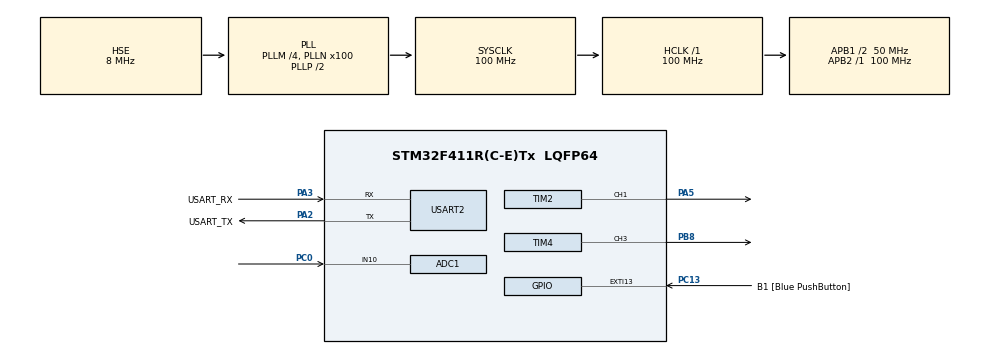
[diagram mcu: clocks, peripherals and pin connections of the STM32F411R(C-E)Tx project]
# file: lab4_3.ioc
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ADC1.Channel-0\#ChannelRegularConversion=ADC_CHANNEL_10
ADC1.NbrOfConversionFlag=1
ADC1.Rank-0\#ChannelRegularConversion=1
ADC1.SamplingTime-0\#ChannelRegularConversion=ADC_SAMPLETIME_3CYCLES
ADC1.master=1
Mcu.Family=STM32F4
Mcu.Name=STM32F411R(C-E)Tx
Mcu.Package=LQFP64
NVIC.ADC_IRQn=true\:0\:0\:false\:false\:true\:true\:true\:true
NVIC.PriorityGroup=NVIC_PRIORITYGROUP_0
NVIC.TIM2_IRQn=true\:0\:0\:false\:false\:true\:true\:true\:true
NVIC.TIM4_IRQn=true\:0\:0\:false\:false\:true\:true\:true\:true
PA13.GPIO_Label=TMS
PA13.Mode=Serial_Wire
PA13.Signal=SYS_JTMS-SWDIO
PA14.GPIO_Label=TCK
PA14.Mode=Serial_Wire
PA14.Signal=SYS_JTCK-SWCLK
PA2.GPIO_Label=USART_TX
PA2.Mode=Asynchronous
PA2.Signal=USART2_TX
PA3.GPIO_Label=USART_RX
PA3.Mode=Asynchronous
PA3.Signal=USART2_RX
PA5.Signal=S_TIM2_CH1_ETR
PB3.GPIO_Label=SWO
PB3.Signal=SYS_JTDO-SWO
PB8.Signal=S_TIM4_CH3
PC0.Signal=ADCx_IN10
PC13-ANTI_TAMP.GPIO_Label=B1 [Blue PushButton]
PC13-ANTI_TAMP.GPIO_ModeDefaultEXTI=GPIO_MODE_IT_FALLING
PC13-ANTI_TAMP.Signal=GPXTI13
PC14-OSC32_IN.Mode=LSE-External-Oscillator
PC14-OSC32_IN.Signal=RCC_OSC32_IN
PC15-OSC32_OUT.Mode=LSE-External-Oscillator
PC15-OSC32_OUT.Signal=RCC_OSC32_OUT
PH0\ -\ OSC_IN.Mode=HSE-External-Clock-Source
PH0\ -\ OSC_IN.Signal=RCC_OSC_IN
PH1\ -\ OSC_OUT.Mode=HSE-External-Clock-Source
PH1\ -\ OSC_OUT.Signal=RCC_OSC_OUT
ProjectManager.HeapSize=0x200
ProjectManager.StackSize=0x400
ProjectManager.TargetToolchain=STM32CubeIDE
RCC.48MHZClocksFreq_Value=50000000
RCC.AHBFreq_Value=100000000
RCC.APB1CLKDivider=RCC_HCLK_DIV2
RCC.APB1Freq_Value=50000000
RCC.APB1TimFreq_Value=100000000
RCC.APB2Freq_Value=100000000
RCC.APB2TimFreq_Value=100000000
RCC.CortexFreq_Value=100000000
RCC.FLatency-AdvancedSettings=FLASH_LATENCY_3
RCC.HCLKFreq_Value=100000000
RCC.HSE_VALUE=8000000
RCC.HSI_VALUE=16000000
RCC.PLLM=4
RCC.PLLN=100
RCC.PLLSourceVirtual=RCC_PLLSOURCE_HSE
RCC.SYSCLKFreq_VALUE=100000000
RCC.SYSCLKSource=RCC_SYSCLKSOURCE_PLLCLK
RCC.VCOOutputFreq_Value=200000000
SH.ADCx_IN10.0=ADC1_IN10,IN10
SH.S_TIM2_CH1_ETR.0=TIM2_CH1,PWM Generation1 CH1
SH.S_TIM4_CH3.0=TIM4_CH3,PWM Generation3 CH3
TIM2.AutoReloadPreload=TIM_AUTORELOAD_PRELOAD_ENABLE
TIM2.Channel-PWM\ Generation1\ CH1=TIM_CHANNEL_1
TIM2.CounterMode=TIM_COUNTERMODE_DOWN
TIM2.Period=9999
TIM2.Pulse-PWM\ Generation1\ CH1=5000
TIM4.AutoReloadPreload=TIM_AUTORELOAD_PRELOAD_ENABLE
TIM4.Channel-PWM\ Generation3\ CH3=TIM_CHANNEL_3
TIM4.CounterMode=TIM_COUNTERMODE_DOWN
TIM4.Period=62499
TIM4.Prescaler=15
TIM4.Pulse-PWM\ Generation3\ CH3=32768
USART2.VirtualMode=VM_ASYNC
VP_TIM2_VS_ClockSourceINT.Mode=Internal
board=NUCLEO-F411RE

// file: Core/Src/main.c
/* USER CODE BEGIN Header */
/**
  ******************************************************************************
  * @file           : main.c
  * @brief          : Main program body
  ******************************************************************************
  * @attention
  *
  * Copyright (c) 2023 STMicroelectronics.
  * All rights reserved.
  *
  * This software is licensed under terms that can be found in the LICENSE file
  * in the root directory of this software component.
  * If no LICENSE file comes with this software, it is provided AS-IS.
  *
  ******************************************************************************
  */
/* USER CODE END Header */
#include "main.h"

/* USER CODE BEGIN PTD */
enum count_direction {
    COUNT_UP = 0,
    COUNT_DOWN = 1
};

typedef volatile struct {
    uint32_t duty_cycle;
    enum count_direction direction;
} pwm_t;
/* USER CODE END PTD */

ADC_HandleTypeDef hadc1;

TIM_HandleTypeDef htim2;
TIM_HandleTypeDef htim4;

UART_HandleTypeDef huart2;

/* USER CODE BEGIN PV */
pwm_t pwm_led = {50, COUNT_UP};
volatile uint16_t adc_val = 0;
volatile uint16_t adc_max = 0;
volatile uint16_t adc_min = 0;
/* USER CODE END PV */

void SystemClock_Config(void);

static void MX_GPIO_Init(void);

static void MX_TIM2_Init(void);

static void MX_USART2_UART_Init(void);

static void MX_TIM4_Init(void);

static void MX_ADC1_Init(void);

int main(void) {

    /* MCU Configuration--------------------------------------------------------*/

    /* Reset of all peripherals, Initializes the Flash interface and the Systick. */
    HAL_Init();

    /* Configure the system clock */
    SystemClock_Config();

    /* Initialize all configured peripherals */
    MX_GPIO_Init();
    MX_TIM2_Init();
    MX_USART2_UART_Init();
    MX_TIM4_Init();
    MX_ADC1_Init();
    /* USER CODE BEGIN 2 */
    HAL_TIM_PWM_Start_IT(&htim4, TIM_CHANNEL_3);
    HAL_TIM_PWM_Start_IT(&htim2, TIM_CHANNEL_1);
    /* USER CODE END 2 */

    /* Infinite loop */
    while (1) {

    }
}

void SystemClock_Config(void) {
    RCC_OscInitTypeDef RCC_OscInitStruct = {0};
    RCC_ClkInitTypeDef RCC_ClkInitStruct = {0};

    /** Configure the main internal regulator output voltage
    */
    __HAL_RCC_PWR_CLK_ENABLE();
    __HAL_PWR_VOLTAGESCALING_CONFIG(PWR_REGULATOR_VOLTAGE_SCALE1);

    /** Initializes the RCC Oscillators according to the specified parameters
    * in the RCC_OscInitTypeDef structure.
    */
    RCC_OscInitStruct.OscillatorType = RCC_OSCILLATORTYPE_HSE;
    RCC_OscInitStruct.HSEState = RCC_HSE_BYPASS;
    RCC_OscInitStruct.PLL.PLLState = RCC_PLL_ON;
    RCC_OscInitStruct.PLL.PLLSource = RCC_PLLSOURCE_HSE;
    RCC_OscInitStruct.PLL.PLLM = 4;
    RCC_OscInitStruct.PLL.PLLN = 100;
    RCC_OscInitStruct.PLL.PLLP = RCC_PLLP_DIV2;
    RCC_OscInitStruct.PLL.PLLQ = 4;
    if (HAL_RCC_OscConfig(&RCC_OscInitStruct) != HAL_OK) {
        Error_Handler();
    }

    /** Initializes the CPU, AHB and APB buses clocks
    */
    RCC_ClkInitStruct.ClockType = RCC_CLOCKTYPE_HCLK | RCC_CLOCKTYPE_SYSCLK
                                  | RCC_CLOCKTYPE_PCLK1 | RCC_CLOCKTYPE_PCLK2;
    RCC_ClkInitStruct.SYSCLKSource = RCC_SYSCLKSOURCE_PLLCLK;
    RCC_ClkInitStruct.AHBCLKDivider = RCC_SYSCLK_DIV1;
    RCC_ClkInitStruct.APB1CLKDivider = RCC_HCLK_DIV2;
    RCC_ClkInitStruct.APB2CLKDivider = RCC_HCLK_DIV1;

    if (HAL_RCC_ClockConfig(&RCC_ClkInitStruct, FLASH_LATENCY_3) != HAL_OK) {
        Error_Handler();
    }
}

static void MX_ADC1_Init(void) {

    ADC_ChannelConfTypeDef sConfig = {0};

    /** Configure the global features of the ADC (Clock, Resolution, Data Alignment and number of conversion)
    */
    hadc1.Instance = ADC1;
    hadc1.Init.ClockPrescaler = ADC_CLOCK_SYNC_PCLK_DIV4;
    hadc1.Init.Resolution = ADC_RESOLUTION_12B;
    hadc1.Init.ScanConvMode = DISABLE;
    hadc1.Init.ContinuousConvMode = DISABLE;
    hadc1.Init.DiscontinuousConvMode = DISABLE;
    hadc1.Init.ExternalTrigConvEdge = ADC_EXTERNALTRIGCONVEDGE_NONE;
    hadc1.Init.ExternalTrigConv = ADC_SOFTWARE_START;
    hadc1.Init.DataAlign = ADC_DATAALIGN_RIGHT;
    hadc1.Init.NbrOfConversion = 1;
    hadc1.Init.DMAContinuousRequests = DISABLE;
    hadc1.Init.EOCSelection = ADC_EOC_SINGLE_CONV;
    if (HAL_ADC_Init(&hadc1) != HAL_OK) {
        Error_Handler();
    }

    /** Configure for the selected ADC regular channel its corresponding rank in the sequencer and its sample time.
    */
    sConfig.Channel = ADC_CHANNEL_10;
    sConfig.Rank = 1;
    sConfig.SamplingTime = ADC_SAMPLETIME_3CYCLES;
    if (HAL_ADC_ConfigChannel(&hadc1, &sConfig) != HAL_OK) {
        Error_Handler();
    }

}

static void MX_TIM2_Init(void) {

    TIM_ClockConfigTypeDef sClockSourceConfig = {0};
    TIM_MasterConfigTypeDef sMasterConfig = {0};
    TIM_OC_InitTypeDef sConfigOC = {0};

    htim2.Instance = TIM2;
    htim2.Init.Prescaler = 0;
    htim2.Init.CounterMode = TIM_COUNTERMODE_DOWN;
    htim2.Init.Period = 9999;
    htim2.Init.ClockDivision = TIM_CLOCKDIVISION_DIV1;
    htim2.Init.AutoReloadPreload = TIM_AUTORELOAD_PRELOAD_ENABLE;
    if (HAL_TIM_Base_Init(&htim2) != HAL_OK) {
        Error_Handler();
    }
    sClockSourceConfig.ClockSource = TIM_CLOCKSOURCE_INTERNAL;
    if (HAL_TIM_ConfigClockSource(&htim2, &sClockSourceConfig) != HAL_OK) {
        Error_Handler();
    }
    if (HAL_TIM_PWM_Init(&htim2) != HAL_OK) {
        Error_Handler();
    }
    sMasterConfig.MasterOutputTrigger = TIM_TRGO_RESET;
    sMasterConfig.MasterSlaveMode = TIM_MASTERSLAVEMODE_DISABLE;
    if (HAL_TIMEx_MasterConfigSynchronization(&htim2, &sMasterConfig) != HAL_OK) {
        Error_Handler();
    }
    sConfigOC.OCMode = TIM_OCMODE_PWM1;
    sConfigOC.Pulse = 5000;
    sConfigOC.OCPolarity = TIM_OCPOLARITY_HIGH;
    sConfigOC.OCFastMode = TIM_OCFAST_DISABLE;
    if (HAL_TIM_PWM_ConfigChannel(&htim2, &sConfigOC, TIM_CHANNEL_1) != HAL_OK) {
        Error_Handler();
    }
    HAL_TIM_MspPostInit(&htim2);

}

static void MX_TIM4_Init(void) {

    TIM_MasterConfigTypeDef sMasterConfig = {0};
    TIM_OC_InitTypeDef sConfigOC = {0};

    htim4.Instance = TIM4;
    htim4.Init.Prescaler = 15;
    htim4.Init.CounterMode = TIM_COUNTERMODE_DOWN;
    htim4.Init.Period = 62499;
    htim4.Init.ClockDivision = TIM_CLOCKDIVISION_DIV1;
    htim4.Init.AutoReloadPreload = TIM_AUTORELOAD_PRELOAD_ENABLE;
    if (HAL_TIM_PWM_Init(&htim4) != HAL_OK) {
        Error_Handler();
    }
    sMasterConfig.MasterOutputTrigger = TIM_TRGO_RESET;
    sMasterConfig.MasterSlaveMode = TIM_MASTERSLAVEMODE_DISABLE;
    if (HAL_TIMEx_MasterConfigSynchronization(&htim4, &sMasterConfig) != HAL_OK) {
        Error_Handler();
    }
    sConfigOC.OCMode = TIM_OCMODE_PWM1;
    sConfigOC.Pulse = 32768;
    sConfigOC.OCPolarity = TIM_OCPOLARITY_HIGH;
    sConfigOC.OCFastMode = TIM_OCFAST_DISABLE;
    if (HAL_TIM_PWM_ConfigChannel(&htim4, &sConfigOC, TIM_CHANNEL_3) != HAL_OK) {
        Error_Handler();
    }
    HAL_TIM_MspPostInit(&htim4);

}

static void MX_USART2_UART_Init(void) {

    huart2.Instance = USART2;
    huart2.Init.BaudRate = 115200;
    huart2.Init.WordLength = UART_WORDLENGTH_8B;
    huart2.Init.StopBits = UART_STOPBITS_1;
    huart2.Init.Parity = UART_PARITY_NONE;
    huart2.Init.Mode = UART_MODE_TX_RX;
    huart2.Init.HwFlowCtl = UART_HWCONTROL_NONE;
    huart2.Init.OverSampling = UART_OVERSAMPLING_16;
    if (HAL_UART_Init(&huart2) != HAL_OK) {
        Error_Handler();
    }

}

static void MX_GPIO_Init(void) {
    GPIO_InitTypeDef GPIO_InitStruct = {0};

    /* GPIO Ports Clock Enable */
    __HAL_RCC_GPIOC_CLK_ENABLE();
    __HAL_RCC_GPIOH_CLK_ENABLE();
    __HAL_RCC_GPIOA_CLK_ENABLE();
    __HAL_RCC_GPIOB_CLK_ENABLE();

    /*Configure GPIO pin : B1_Pin */
    GPIO_InitStruct.Pin = B1_Pin;
    GPIO_InitStruct.Mode = GPIO_MODE_IT_FALLING;
    GPIO_InitStruct.Pull = GPIO_NOPULL;
    HAL_GPIO_Init(B1_GPIO_Port, &GPIO_InitStruct);

}

/* USER CODE BEGIN 4 */
void HAL_ADC_ConvCpltCallback(ADC_HandleTypeDef *hadc) {
    if (hadc->Instance == ADC1) {
        adc_val = HAL_ADC_GetValue(&hadc1);
        if (adc_val > adc_max)
            adc_max = adc_val;
        if (adc_val < adc_min)
            adc_min = adc_val;
    }
}

void HAL_TIM_PWM_PulseFinishedCallback(TIM_HandleTypeDef *htim) {
    if (htim->Instance == TIM4) {
        HAL_ADC_Start_IT(&hadc1);
        float cp = 1.0F - (float) (adc_max - adc_val) / (float) (adc_max - adc_min);
        pwm_led.duty_cycle = (uint32_t) (cp * 100.0F);
        uint32_t new_pr = (uint32_t) (TIM2->ARR * pwm_led.duty_cycle * 0.01F);
        TIM2->CCR1 = new_pr;
    }
}
/* USER CODE END 4 */

void Error_Handler(void) {
    __disable_irq();
    while (1) {
    }
}
